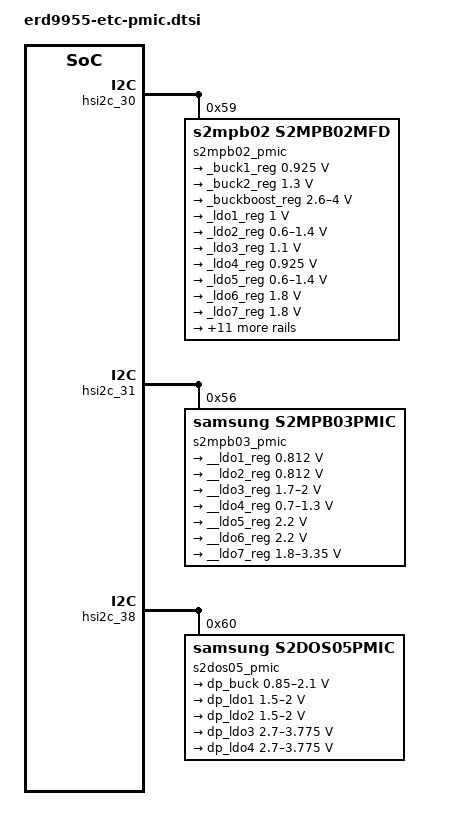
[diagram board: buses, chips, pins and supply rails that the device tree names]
/*
 * SAMSUNG S5E9955 Display, Camera PMIC device tree source
 *
 * Copyright (c) 2024 Samsung Electronics Co., Ltd.
 *             http://www.samsung.com
 *
 * SAMSUNG S5E9955 Display, Camera PMIC device nodes are listed in this file.
 * EXYNOS based board files can include this file and provide
 * values for board specfic bindings.
 *
 * This program is free software; you can redistribute it and/or modify
 * it under the terms of the GNU General Public License version 2 as
 * published by the Free Software Foundation.
 */

&pinctrl_0 {
	cam_pmic_a_irq: cam-pmic-a-irq {
		samsung,pins = "gpa0-3";
		samsung,pin-function = <0>;
		samsung,pin-pud = <3>;
		samsung,pin-drv = <0>;
	};

	dp_pmic_irq: dp-pmic-irq {
		samsung,pins = "gpa1-5";
		samsung,pin-function = <0>;
		samsung,pin-pud = <0>;
		samsung,pin-drv = <0>;
	};

	dp_pmic_2_irq: dp-pmic-2-irq {
		samsung,pins = "gpa1-6";
		samsung,pin-function = <0>;
		samsung,pin-pud = <0>;
		samsung,pin-drv = <0>;
	};
};

&hsi2c38_bus {
	samsung,pin-pud = <3>;
};

&hsi2c9_bus {
	samsung,pin-pud = <3>;
};

&hsi2c_30 {
	#address-cells = <3>;
	#size-cells = <0>;
	status = "okay";
	s2mpb02_pmic@59 {
		compatible = "s2mpb02,s2mpb02mfd";
		reg = <0x59 0x0 0x10>;

		s2mpb02,wakeup;
		pinctrl-names = "default";
		pinctrl-0 = <&cam_pmic_a_irq>;

		regulators {
			_buck1_reg: s2mpb02-buck1 {
				regulator-name = "VDDD_0.92V_CAM";
				regulator-min-microvolt = <925000>;
				regulator-max-microvolt = <925000>;
			};

			_buck2_reg: s2mpb02-buck2 {
				regulator-name = "S2MPB02_BUCK2";
				regulator-min-microvolt = <1300000>;
				regulator-max-microvolt = <1300000>;
			};

			_buckboost_reg: s2mpb02-bb {
				regulator-name = "S2MPB02_BB";
				regulator-min-microvolt = <2600000>;
				regulator-max-microvolt = <4000000>;
			};

			_ldo1_reg: s2mpb02-ldo1 {
				regulator-name = "VDDPHY_1.0V_CAM";
				regulator-min-microvolt = <1000000>;
				regulator-max-microvolt = <1000000>;
			};

			_ldo2_reg: s2mpb02-ldo2 {
				regulator-name = "S2MPB02_LDO2";
				regulator-min-microvolt = <600000>;
				regulator-max-microvolt = <1400000>;
				regulator-always-on;
			};

			_ldo3_reg: s2mpb02-ldo3 {
				regulator-name = "VDDD_1.1V_WIDESUB";
				regulator-min-microvolt = <1100000>;
				regulator-max-microvolt = <1100000>;
			};

			_ldo4_reg: s2mpb02-ldo4 {
				regulator-name = "VDDD_0.92V_VT";
				regulator-min-microvolt = <925000>;
				regulator-max-microvolt = <925000>;
			};

			_ldo5_reg: s2mpb02-ldo5 {
				regulator-name = "S2MPB02_LDO5";
				regulator-min-microvolt = <600000>;
				regulator-max-microvolt = <1400000>;
				regulator-always-on;
			};

			_ldo6_reg: s2mpb02-ldo6 {
				regulator-name = "VDDA_1.8V_WIDESUB";
				regulator-min-microvolt = <1800000>;
				regulator-max-microvolt = <1800000>;
			};

			_ldo7_reg: s2mpb02-ldo7 {
				regulator-name = "VDDIO_1.8V_COMMON";
				regulator-min-microvolt = <1800000>;
				regulator-max-microvolt = <1800000>;
			};

			_ldo8_reg: s2mpb02-ldo8 {
				regulator-name = "VDDIO_1.8V_CAM";
				regulator-min-microvolt = <1800000>;
				regulator-max-microvolt = <1800000>;
			};

			_ldo9_reg: s2mpb02-ldo9 {
				regulator-name = "S2MPB02_LDO9";
				regulator-min-microvolt = <1700000>;
				regulator-max-microvolt = <1950000>;
				regulator-always-on;
			};

			_ldo10_reg: s2mpb02-ldo10 {
				regulator-name = "VDDOIS_1.8V_SUB2";
				regulator-min-microvolt = <1800000>;
				regulator-max-microvolt = <1800000>;
			};

			_ldo11_reg: s2mpb02-ldo11 {
				regulator-name = "VDDAF_3.3V_CAM";
				regulator-min-microvolt = <3300000>;
				regulator-max-microvolt = <3300000>;
			};

			_ldo12_reg: s2mpb02-ldo12 {
				regulator-name = "VDDAF_3.3V_SUB";
				regulator-min-microvolt = <3300000>;
				regulator-max-microvolt = <3300000>;
			};

			_ldo13_reg: s2mpb02-ldo13 {
				regulator-name = "VDDAF_3.3V_WIDESUB";
				regulator-min-microvolt = <3300000>;
				regulator-max-microvolt = <3300000>;
			};

			_ldo14_reg: s2mpb02-ldo14 {
				regulator-name = "VDDOIS_3.3V_SUB";
				regulator-min-microvolt = <3300000>;
				regulator-max-microvolt = <3300000>;
			};

			_ldo15_reg: s2mpb02-ldo15 {
				regulator-name = "VDDAF_2.8V_VT";
				regulator-min-microvolt = <2800000>;
				regulator-max-microvolt = <2800000>;
			};

			_ldo16_reg: s2mpb02-ldo16 {
				regulator-name = "VDDA_2.8V_SUB";
				regulator-min-microvolt = <2800000>;
				regulator-max-microvolt = <2800000>;
			};

			_ldo17_reg: s2mpb02-ldo17 {
				regulator-name = "VDDA_2.8V_WIDESUB";
				regulator-min-microvolt = <2800000>;
				regulator-max-microvolt = <2800000>;
			};

			_ldo18_reg: s2mpb02-ldo18 {
				regulator-name = "VDDOIS_3.3V_CAM";
				regulator-min-microvolt = <3300000>;
				regulator-max-microvolt = <3300000>;
			};
		};
	};
};

&hsi2c_31 {
	#address-cells = <1>;
	#size-cells = <0>;
	status = "okay";
	s2mpb03_pmic@56 {
		compatible = "samsung,s2mpb03pmic";
		reg = <0x56>;

		s2mpb03,wakeup;

		regulators {
			__ldo1_reg: s2mpb03-ldo1 {
				regulator-name = "VDDD_0.82V_SUB";
				regulator-min-microvolt = <812500>;
				regulator-max-microvolt = <812500>;
			};

			__ldo2_reg: s2mpb03-ldo2 {
				regulator-name = "VDDD_0.82V_SUB2";
				regulator-min-microvolt = <812500>;
				regulator-max-microvolt = <812500>;
			};

			__ldo3_reg: s2mpb03-ldo3 {
				regulator-name = "S2MPB03_LDO3";
				regulator-min-microvolt = <1700000>;
				regulator-max-microvolt = <2000000>;
				regulator-always-on;
			};

			__ldo4_reg: s2mpb03-ldo4 {
				regulator-name = "S2MPBP03_LDO4";
				regulator-min-microvolt = <700000>;
				regulator-max-microvolt = <1300000>;
				regulator-always-on;
			};

			__ldo5_reg: s2mpb03-ldo5 {
				regulator-name = "VDDA_2.2V_CAM";
				regulator-min-microvolt = <2200000>;
				regulator-max-microvolt = <2200000>;
			};

			__ldo6_reg: s2mpb03-ldo6 {
				regulator-name = "VDDA_2.2V_VT";
				regulator-min-microvolt = <2200000>;
				regulator-max-microvolt = <2200000>;
			};

			__ldo7_reg: s2mpb03-ldo7 {
				regulator-name = "S2MPB03_LDO7";
				regulator-min-microvolt = <1800000>;
				regulator-max-microvolt = <3350000>;
				regulator-always-on;
			};
		};
	};
};

&hsi2c_38 {
	#address-cells = <1>;
	#size-cells = <0>;
	status = "okay";
	s2dos05_pmic@60 {
		compatible = "samsung,s2dos05pmic";
		reg = <0x60>;
		s2dos05,wakeup;
		pinctrl-names = "default";
		pinctrl-0 = <&dp_pmic_irq>;
		s2dos05,s2dos05_int = <&gpa1 5 0>;
		adc_mode = <1>; /* 0 : disable, 1 : current meter, 2 : power meter */
		adc_sync_mode = <2>; /* 1 : sync mode, 2 : async mode */
		regulators {
			dp_buck: s2dos05-buck1 {
				regulator-name = "S2DOS05_BUCK1";
				regulator-min-microvolt = <850000>;
				regulator-max-microvolt = <2100000>;
				regulator-always-on;
			};

			dp_ldo1: s2dos05-ldo1 {
				regulator-name = "S2DOS05_LDO1";
				regulator-min-microvolt = <1500000>;
				regulator-max-microvolt = <2000000>;
				regulator-always-on;
			};

			dp_ldo2: s2dos05-ldo2 {
				regulator-name = "S2DOS05_LDO2";
				regulator-min-microvolt = <1500000>;
				regulator-max-microvolt = <2000000>;
			};

			dp_ldo3: s2dos05-ldo3 {
				regulator-name = "S2DOS05_LDO3";
				regulator-min-microvolt = <2700000>;
				regulator-max-microvolt = <3775000>;
			};

			dp_ldo4: s2dos05-ldo4 {
				regulator-name = "S2DOS05_LDO4";
				regulator-min-microvolt = <2700000>;
				regulator-max-microvolt = <3775000>;
				regulator-always-on;
			};
		};
	};
};

&hsi2c_9 {
	#address-cells = <1>;
	#size-cells = <0>;
	status = "disabled";
	s2dos05_pmic@60 {
		compatible = "samsung,s2dos05pmic_2";
		reg = <0x60>;
		s2dos05,wakeup;
		pinctrl-names = "default";
		pinctrl-0 = <&dp_pmic_2_irq>;
		s2dos05,s2dos05_int = <&gpa1 6 0>;
		adc_mode = <1>; /* 0 : disable, 1 : current meter, 2 : power meter */
		adc_sync_mode = <2>; /* 1 : sync mode, 2 : async mode */
		regulators {
			dp2_buck: s2dos05-buck1 {
				regulator-name = "S2DOS05_BUCK1D2";
				regulator-min-microvolt = <850000>;
				regulator-max-microvolt = <2100000>;
				regulator-always-on;
			};

			dp2_ldo1: s2dos05-ldo1 {
				regulator-name = "S2DOS05_LDO1D2";
				regulator-min-microvolt = <1500000>;
				regulator-max-microvolt = <2000000>;
				regulator-always-on;
			};

			dp2_ldo2: s2dos05-ldo2 {
				regulator-name = "S2DOS05_LDO2D2";
				regulator-min-microvolt = <1500000>;
				regulator-max-microvolt = <2000000>;
			};

			dp2_ldo3: s2dos05-ldo3 {
				regulator-name = "S2DOS05_LDO3D2";
				regulator-min-microvolt = <2700000>;
				regulator-max-microvolt = <3775000>;
			};

			dp2_ldo4: s2dos05-ldo4 {
				regulator-name = "S2DOS05_LDO4D2";
				regulator-min-microvolt = <2700000>;
				regulator-max-microvolt = <3775000>;
				regulator-always-on;
			};
		};
	};
};
